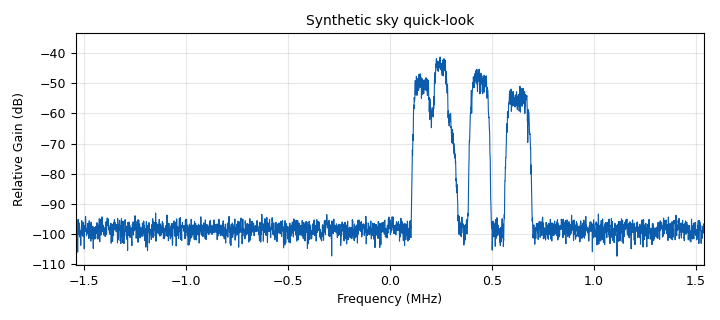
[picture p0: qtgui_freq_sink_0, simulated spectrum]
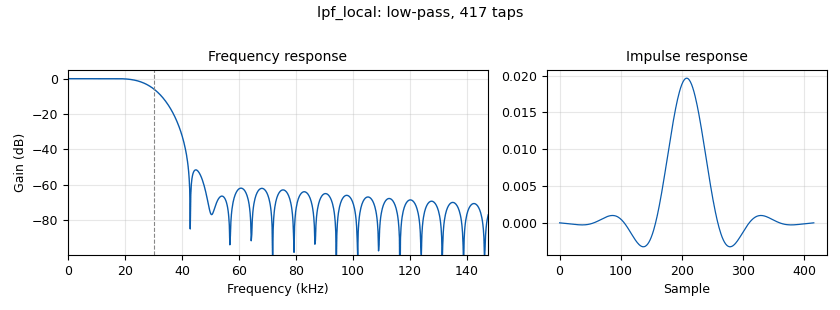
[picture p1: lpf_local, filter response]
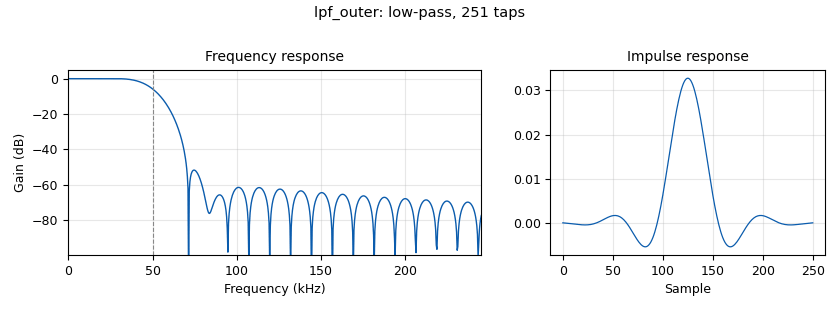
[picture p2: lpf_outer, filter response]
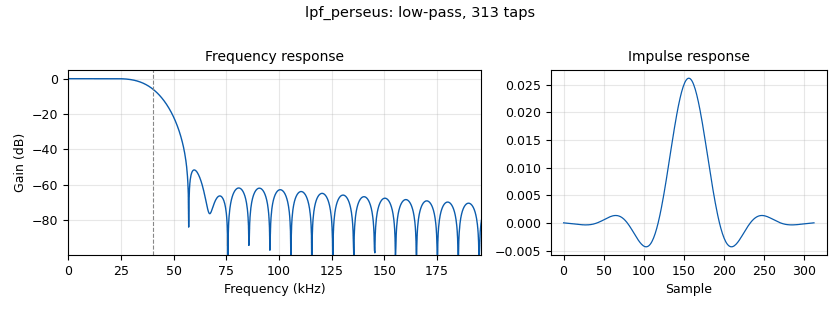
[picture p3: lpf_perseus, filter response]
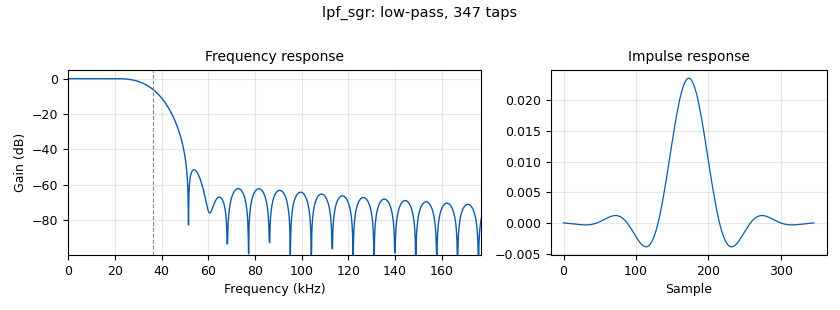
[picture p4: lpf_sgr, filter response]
options:
  parameters:
    author: OpenAI
    comment: Simulation-only branch RMS measurement and required gain calculator for the Topo 3 hydrogen-line synthesizer. Uses RMS so required Multiply Const = target_rms / measured_rms.
    description: Measure raw branch RMS after LPFs and directly show required Multiply Const values.
    generate_options: qt_gui
    id: topo3_required_constants
    output_language: python
    title: Topo 3 Required Constants Meter
  states: {}

blocks:
- name: fft_size
  id: variable
  parameters:
    value: '4096'
  states: {}
- name: guard_offset_hz
  id: variable
  parameters:
    value: '250000'
  states: {}
- name: probe_alpha
  id: variable
  parameters:
    value: '1e-7'
  states: {}
- name: samp_rate
  id: variable
  parameters:
    value: '3080000'
  states: {}
- name: target_floor_rms
  id: variable_qtgui_range
  parameters:
    gui_hint: '[5,0,1,1]'
    label: target_floor_rms
    start: '0.0001'
    step: '0.0001'
    stop: '0.05'
    value: '0.002'
  states: {}
- name: target_local_rms
  id: variable_qtgui_range
  parameters:
    gui_hint: '[0,0,1,1]'
    label: target_local_rms
    start: '0.01'
    step: '0.01'
    stop: '2.0'
    value: '1.00'
  states: {}
- name: target_outer_rms
  id: variable_qtgui_range
  parameters:
    gui_hint: '[3,0,1,1]'
    label: target_outer_rms
    start: '0.01'
    step: '0.01'
    stop: '2.0'
    value: '0.45'
  states: {}
- name: target_perseus_rms
  id: variable_qtgui_range
  parameters:
    gui_hint: '[1,0,1,1]'
    label: target_perseus_rms
    start: '0.01'
    step: '0.01'
    stop: '2.0'
    value: '0.70'
  states: {}
- name: target_sgr_rms
  id: variable_qtgui_range
  parameters:
    gui_hint: '[2,0,1,1]'
    label: target_sgr_rms
    start: '0.01'
    step: '0.01'
    stop: '2.0'
    value: '0.60'
  states: {}
- name: target_warm_rms
  id: variable_qtgui_range
  parameters:
    gui_hint: '[4,0,1,1]'
    label: target_warm_rms
    start: '0.01'
    step: '0.01'
    stop: '2.0'
    value: '0.25'
  states: {}
- name: blocks_throttle2_0
  id: blocks_throttle2
  parameters:
    samples_per_second: samp_rate
    type: complex
  states: {}
- name: div_floor_k
  id: blocks_divide_xx
  parameters:
    type: float
  states: {}
- name: div_local_k
  id: blocks_divide_xx
  parameters:
    type: float
  states: {}
- name: div_outer_k
  id: blocks_divide_xx
  parameters:
    type: float
  states: {}
- name: div_perseus_k
  id: blocks_divide_xx
  parameters:
    type: float
  states: {}
- name: div_sgr_k
  id: blocks_divide_xx
  parameters:
    type: float
  states: {}
- name: div_warm_k
  id: blocks_divide_xx
  parameters:
    type: float
  states: {}
- name: lpf_local
  id: fir_filter_xxx
  parameters:
    decim: '1'
    taps: firdes.low_pass(1, samp_rate, 30191, 17775, window.WIN_HAMMING, 6.76)
    type: ccf
  states: {}
- name: lpf_outer
  id: fir_filter_xxx
  parameters:
    decim: '1'
    taps: firdes.low_pass(1, samp_rate, 50318, 29625, window.WIN_HAMMING, 6.76)
    type: ccf
  states: {}
- name: lpf_perseus
  id: fir_filter_xxx
  parameters:
    decim: '1'
    taps: firdes.low_pass(1, samp_rate, 40254, 23700, window.WIN_HAMMING, 6.76)
    type: ccf
  states: {}
- name: lpf_sgr
  id: fir_filter_xxx
  parameters:
    decim: '1'
    taps: firdes.low_pass(1, samp_rate, 36220, 21325, window.WIN_HAMMING, 6.76)
    type: ccf
  states: {}
- name: lpf_warm
  id: fir_filter_xxx
  parameters:
    decim: '1'
    taps: firdes.low_pass(1, samp_rate, 80509, 47400, window.WIN_HAMMING, 6.76)
    type: ccf
  states: {}
- name: mult_floor
  id: blocks_multiply_const_vxx
  parameters:
    const: '1.0'
    type: complex
  states: {}
- name: mult_local
  id: blocks_multiply_const_vxx
  parameters:
    const: '1.0'
    type: complex
  states: {}
- name: mult_outer
  id: blocks_multiply_const_vxx
  parameters:
    const: '1.0'
    type: complex
  states: {}
- name: mult_perseus
  id: blocks_multiply_const_vxx
  parameters:
    const: '1.0'
    type: complex
  states: {}
- name: mult_sgr
  id: blocks_multiply_const_vxx
  parameters:
    const: '1.0'
    type: complex
  states: {}
- name: mult_warm
  id: blocks_multiply_const_vxx
  parameters:
    const: '1.0'
    type: complex
  states: {}
- name: noise_floor
  id: analog_noise_source_x
  parameters:
    amp: '0.002'
    noise_type: analog.GR_GAUSSIAN
    seed: '42'
    type: complex
  states: {}
- name: noise_local
  id: analog_noise_source_x
  parameters:
    amp: '1.0'
    noise_type: analog.GR_GAUSSIAN
    seed: '0'
    type: complex
  states: {}
- name: noise_outer
  id: analog_noise_source_x
  parameters:
    amp: '0.3'
    noise_type: analog.GR_GAUSSIAN
    seed: '2'
    type: complex
  states: {}
- name: noise_perseus
  id: analog_noise_source_x
  parameters:
    amp: '0.6'
    noise_type: analog.GR_GAUSSIAN
    seed: '1'
    type: complex
  states: {}
- name: noise_sgr
  id: analog_noise_source_x
  parameters:
    amp: '0.5'
    noise_type: analog.GR_GAUSSIAN
    seed: '3'
    type: complex
  states: {}
- name: noise_warm
  id: analog_noise_source_x
  parameters:
    amp: '0.15'
    noise_type: analog.GR_GAUSSIAN
    seed: '4'
    type: complex
  states: {}
- name: qtgui_freq_sink_0
  id: qtgui_freq_sink_x
  parameters:
    autoscale: 'True'
    average: '0.2'
    bw: samp_rate
    fc: '0'
    fftsize: fft_size
    grid: 'True'
    gui_hint: '[0,6,8,4]'
    label1: '"sum"'
    legend: 'False'
    name: '"Synthetic sky quick-look"'
    type: complex
    ymin: '-100'
  states: {}
- name: qtgui_number_sink_k
  id: qtgui_number_sink
  parameters:
    autoscale: 'True'
    color2: ("blue", "red")
    color3: ("black", "red")
    color4: ("black", "white")
    color5: ("white", "black")
    graph_type: qtgui.NUM_GRAPH_HORIZ
    gui_hint: '[4,2,4,4]'
    label1: '"local k"'
    label2: '"perseus k"'
    label3: '"sgr k"'
    label4: '"outer k"'
    label5: '"warm k"'
    label6: '"floor k"'
    max: '10'
    min: '0'
    name: '"Required Multiply Const values"'
    nconnections: '6'
    type: float
    unit1: '""'
    unit2: '""'
    unit3: '""'
    unit4: '""'
    unit5: '""'
    unit6: '""'
  states: {}
- name: qtgui_number_sink_raw
  id: qtgui_number_sink
  parameters:
    autoscale: 'True'
    color2: ("blue", "red")
    color3: ("black", "red")
    color4: ("black", "white")
    color5: ("white", "black")
    graph_type: qtgui.NUM_GRAPH_HORIZ
    gui_hint: '[0,2,4,4]'
    label1: '"local raw rms"'
    label2: '"perseus raw rms"'
    label3: '"sgr raw rms"'
    label4: '"outer raw rms"'
    label5: '"warm raw rms"'
    label6: '"floor raw rms"'
    max: '2'
    min: '0'
    name: '"Measured raw RMS after LPFs"'
    nconnections: '6'
    type: float
    unit1: '""'
    unit2: '""'
    unit3: '""'
    unit4: '""'
    unit5: '""'
    unit6: '""'
  states: {}
- name: rms_floor
  id: blocks_rms_xx
  parameters:
    alpha: probe_alpha
    type: complex
  states: {}
- name: rms_local
  id: blocks_rms_xx
  parameters:
    alpha: probe_alpha
    type: complex
  states: {}
- name: rms_outer
  id: blocks_rms_xx
  parameters:
    alpha: probe_alpha
    type: complex
  states: {}
- name: rms_perseus
  id: blocks_rms_xx
  parameters:
    alpha: probe_alpha
    type: complex
  states: {}
- name: rms_sgr
  id: blocks_rms_xx
  parameters:
    alpha: probe_alpha
    type: complex
  states: {}
- name: rms_warm
  id: blocks_rms_xx
  parameters:
    alpha: probe_alpha
    type: complex
  states: {}
- name: rot_guard
  id: blocks_rotator_cc
  parameters:
    phase_inc: (2.0 * 3.141592653589793 * guard_offset_hz / samp_rate)
  states: {}
- name: rot_local
  id: blocks_rotator_cc
  parameters:
    phase_inc: (2.0 * 3.141592653589793 * 0.0 / samp_rate)
  states: {}
- name: rot_outer
  id: blocks_rotator_cc
  parameters:
    phase_inc: (2.0 * 3.141592653589793 * 379200.0 / samp_rate)
  states: {}
- name: rot_perseus
  id: blocks_rotator_cc
  parameters:
    phase_inc: (2.0 * 3.141592653589793 * 189600.0 / samp_rate)
  states: {}
- name: rot_sgr
  id: blocks_rotator_cc
  parameters:
    phase_inc: (2.0 * 3.141592653589793 * -94800.0 / samp_rate)
  states: {}
- name: rot_warm
  id: blocks_rotator_cc
  parameters:
    phase_inc: (2.0 * 3.141592653589793 * -23700.0 / samp_rate)
  states: {}
- name: sum_all
  id: blocks_add_xx
  parameters:
    num_inputs: '6'
    type: complex
  states: {}
- name: target_floor_src
  id: analog_sig_source_x
  parameters:
    amp: '0'
    freq: '0'
    offset: target_floor_rms
    phase: '0'
    samp_rate: samp_rate
    type: float
    waveform: analog.GR_CONST_WAVE
  states: {}
- name: target_local_src
  id: analog_sig_source_x
  parameters:
    amp: '0'
    freq: '0'
    offset: target_local_rms
    phase: '0'
    samp_rate: samp_rate
    type: float
    waveform: analog.GR_CONST_WAVE
  states: {}
- name: target_outer_src
  id: analog_sig_source_x
  parameters:
    amp: '0'
    freq: '0'
    offset: target_outer_rms
    phase: '0'
    samp_rate: samp_rate
    type: float
    waveform: analog.GR_CONST_WAVE
  states: {}
- name: target_perseus_src
  id: analog_sig_source_x
  parameters:
    amp: '0'
    freq: '0'
    offset: target_perseus_rms
    phase: '0'
    samp_rate: samp_rate
    type: float
    waveform: analog.GR_CONST_WAVE
  states: {}
- name: target_sgr_src
  id: analog_sig_source_x
  parameters:
    amp: '0'
    freq: '0'
    offset: target_sgr_rms
    phase: '0'
    samp_rate: samp_rate
    type: float
    waveform: analog.GR_CONST_WAVE
  states: {}
- name: target_warm_src
  id: analog_sig_source_x
  parameters:
    amp: '0'
    freq: '0'
    offset: target_warm_rms
    phase: '0'
    samp_rate: samp_rate
    type: float
    waveform: analog.GR_CONST_WAVE
  states: {}

connections:
- [blocks_throttle2_0, '0', qtgui_freq_sink_0, '0']
- [div_floor_k, '0', qtgui_number_sink_k, '5']
- [div_local_k, '0', qtgui_number_sink_k, '0']
- [div_outer_k, '0', qtgui_number_sink_k, '3']
- [div_perseus_k, '0', qtgui_number_sink_k, '1']
- [div_sgr_k, '0', qtgui_number_sink_k, '2']
- [div_warm_k, '0', qtgui_number_sink_k, '4']
- [lpf_local, '0', mult_local, '0']
- [lpf_local, '0', rms_local, '0']
- [lpf_outer, '0', mult_outer, '0']
- [lpf_outer, '0', rms_outer, '0']
- [lpf_perseus, '0', mult_perseus, '0']
- [lpf_perseus, '0', rms_perseus, '0']
- [lpf_sgr, '0', mult_sgr, '0']
- [lpf_sgr, '0', rms_sgr, '0']
- [lpf_warm, '0', mult_warm, '0']
- [lpf_warm, '0', rms_warm, '0']
- [mult_floor, '0', sum_all, '5']
- [mult_local, '0', rot_local, '0']
- [mult_outer, '0', rot_outer, '0']
- [mult_perseus, '0', rot_perseus, '0']
- [mult_sgr, '0', rot_sgr, '0']
- [mult_warm, '0', rot_warm, '0']
- [noise_floor, '0', mult_floor, '0']
- [noise_floor, '0', rms_floor, '0']
- [noise_local, '0', lpf_local, '0']
- [noise_outer, '0', lpf_outer, '0']
- [noise_perseus, '0', lpf_perseus, '0']
- [noise_sgr, '0', lpf_sgr, '0']
- [noise_warm, '0', lpf_warm, '0']
- [rms_floor, '0', div_floor_k, '1']
- [rms_floor, '0', qtgui_number_sink_raw, '5']
- [rms_local, '0', div_local_k, '1']
- [rms_local, '0', qtgui_number_sink_raw, '0']
- [rms_outer, '0', div_outer_k, '1']
- [rms_outer, '0', qtgui_number_sink_raw, '3']
- [rms_perseus, '0', div_perseus_k, '1']
- [rms_perseus, '0', qtgui_number_sink_raw, '1']
- [rms_sgr, '0', div_sgr_k, '1']
- [rms_sgr, '0', qtgui_number_sink_raw, '2']
- [rms_warm, '0', div_warm_k, '1']
- [rms_warm, '0', qtgui_number_sink_raw, '4']
- [rot_guard, '0', blocks_throttle2_0, '0']
- [rot_local, '0', sum_all, '0']
- [rot_outer, '0', sum_all, '3']
- [rot_perseus, '0', sum_all, '1']
- [rot_sgr, '0', sum_all, '2']
- [rot_warm, '0', sum_all, '4']
- [sum_all, '0', rot_guard, '0']
- [target_floor_src, '0', div_floor_k, '0']
- [target_local_src, '0', div_local_k, '0']
- [target_outer_src, '0', div_outer_k, '0']
- [target_perseus_src, '0', div_perseus_k, '0']
- [target_sgr_src, '0', div_sgr_k, '0']
- [target_warm_src, '0', div_warm_k, '0']

metadata:
  file_format: 1
  grc_version: 3.10.12.0
